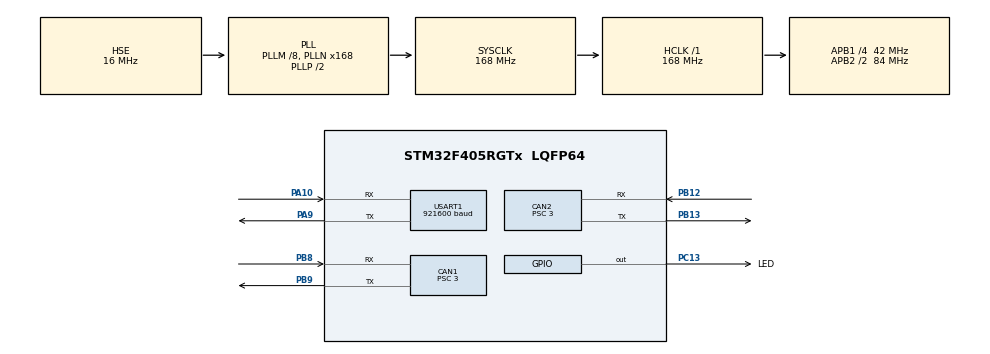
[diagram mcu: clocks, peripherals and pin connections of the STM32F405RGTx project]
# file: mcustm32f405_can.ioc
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CAN1.BS1=CAN_BS1_11TQ
CAN1.BS2=CAN_BS2_2TQ
CAN1.CalculateBaudRate=1000000
CAN1.CalculateTimeBit=1000
CAN1.CalculateTimeQuantum=71.42857142857143
CAN1.Mode=CAN_MODE_NORMAL
CAN1.Prescaler=3
CAN2.BS1=CAN_BS1_11TQ
CAN2.BS2=CAN_BS2_2TQ
CAN2.CalculateBaudRate=1000000
CAN2.CalculateTimeBit=1000
CAN2.CalculateTimeQuantum=71.42857142857143
CAN2.Prescaler=3
Mcu.Family=STM32F4
Mcu.Name=STM32F405RGTx
Mcu.Package=LQFP64
NVIC.CAN1_RX0_IRQn=true\:0\:0\:false\:false\:true\:true\:true\:true
NVIC.CAN1_RX1_IRQn=true\:0\:0\:false\:false\:true\:true\:true\:true
NVIC.CAN1_SCE_IRQn=true\:0\:0\:false\:false\:true\:true\:true\:true
NVIC.CAN1_TX_IRQn=true\:0\:0\:false\:false\:true\:true\:true\:true
NVIC.CAN2_RX0_IRQn=true\:0\:0\:false\:false\:true\:true\:true\:true
NVIC.CAN2_RX1_IRQn=true\:0\:0\:false\:false\:true\:true\:true\:true
NVIC.CAN2_SCE_IRQn=true\:0\:0\:false\:false\:true\:true\:true\:true
NVIC.CAN2_TX_IRQn=true\:0\:0\:false\:false\:true\:true\:true\:true
NVIC.PriorityGroup=NVIC_PRIORITYGROUP_4
PA10.Mode=Asynchronous
PA10.Signal=USART1_RX
PA13.Mode=Trace_Asynchronous_SW
PA13.Signal=SYS_JTMS-SWDIO
PA14.Mode=Trace_Asynchronous_SW
PA14.Signal=SYS_JTCK-SWCLK
PA9.Mode=Asynchronous
PA9.Signal=USART1_TX
PB12.Mode=CAN_Activate
PB12.Signal=CAN2_RX
PB13.Mode=CAN_Activate
PB13.Signal=CAN2_TX
PB3.Mode=Trace_Asynchronous_SW
PB3.Signal=SYS_JTDO-SWO
PB8.Mode=CAN_Activate
PB8.Signal=CAN1_RX
PB9.Mode=CAN_Activate
PB9.Signal=CAN1_TX
PC13-ANTI_TAMP.GPIO_Label=LED
PC13-ANTI_TAMP.GPIO_ModeDefaultOutputPP=GPIO_MODE_OUTPUT_OD
PC13-ANTI_TAMP.GPIO_PuPd=GPIO_NOPULL
PC13-ANTI_TAMP.PinState=GPIO_PIN_SET
PC13-ANTI_TAMP.Signal=GPIO_Output
PH0-OSC_IN.Mode=HSE-External-Oscillator
PH0-OSC_IN.Signal=RCC_OSC_IN
PH1-OSC_OUT.Mode=HSE-External-Oscillator
PH1-OSC_OUT.Signal=RCC_OSC_OUT
ProjectManager.HeapSize=0x200
ProjectManager.StackSize=0x400
ProjectManager.TargetToolchain=STM32CubeIDE
RCC.48MHZClocksFreq_Value=48000000
RCC.AHBFreq_Value=168000000
RCC.APB1CLKDivider=RCC_HCLK_DIV4
RCC.APB1Freq_Value=42000000
RCC.APB1TimFreq_Value=84000000
RCC.APB2CLKDivider=RCC_HCLK_DIV2
RCC.APB2Freq_Value=84000000
RCC.APB2TimFreq_Value=168000000
RCC.CortexFreq_Value=168000000
RCC.HCLKFreq_Value=168000000
RCC.HSE_VALUE=16000000
RCC.HSI_VALUE=16000000
RCC.LSE_VALUE=32768
RCC.PLLM=8
RCC.PLLN=168
RCC.PLLQ=7
RCC.PLLSourceVirtual=RCC_PLLSOURCE_HSE
RCC.SYSCLKFreq_VALUE=168000000
RCC.SYSCLKSource=RCC_SYSCLKSOURCE_PLLCLK
RCC.VCOOutputFreq_Value=336000000
USART1.BaudRate=921600
USART1.VirtualMode=VM_ASYNC
VP_RNG_VS_RNG.Mode=RNG_Activate
board=custom

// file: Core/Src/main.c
/* USER CODE BEGIN Header */
/**
 ******************************************************************************
 * @file           : main.c
 * @brief          : Main program body
 ******************************************************************************
 * @attention
 *
 * Copyright (c) 2023 STM32World <lth@stm32world.com>
 * All rights reserved.
 *
 * This software is licensed under terms that can be found in the LICENSE file
 * in the root directory of this software component.
 * If no LICENSE file comes with this software, it is provided AS-IS.
 *
 ******************************************************************************
 */
/* USER CODE END Header */
#include "main.h"

/* USER CODE BEGIN PD */

// Define some IDs to use on the CAN bus
#define CAN_ID_NOW 0b11000000000
#define CAN_ID_RND 0b10000000000

/* USER CODE END PD */

CAN_HandleTypeDef hcan1;
CAN_HandleTypeDef hcan2;

RNG_HandleTypeDef hrng;

UART_HandleTypeDef huart1;

/* USER CODE BEGIN PV */

CAN_TxHeaderTypeDef TxHeader;
CAN_RxHeaderTypeDef RxHeader;

uint32_t TxMailbox;

uint8_t TxData[8];
uint8_t RxData[8];

uint32_t msg_count = 0;
uint16_t delay = 500;

/* USER CODE END PV */

void SystemClock_Config(void);
static void MX_GPIO_Init(void);
static void MX_CAN1_Init(void);
static void MX_USART1_UART_Init(void);
static void MX_CAN2_Init(void);
static void MX_RNG_Init(void);

/* USER CODE BEGIN 0 */

// Send printf to uart1
int _write(int fd, char *ptr, int len) {
    HAL_StatusTypeDef hstatus;

    if (fd == 1 || fd == 2) {
        hstatus = HAL_UART_Transmit(&huart1, (uint8_t*) ptr, len, HAL_MAX_DELAY);
        if (hstatus == HAL_OK)
            return len;
        else
            return -1;
    }
    return -1;
}

void HAL_CAN_TxMailbox0CompleteCallback(CAN_HandleTypeDef *hcan) {
    DBG("HAL_CAN_TxMailbox0CompleteCallback");
}

void HAL_CAN_TxMailbox1CompleteCallback(CAN_HandleTypeDef *hcan) {
    DBG("HAL_CAN_TxMailbox1CompleteCallback");
}

void HAL_CAN_TxMailbox2CompleteCallback(CAN_HandleTypeDef *hcan) {
    DBG("HAL_CAN_TxMailbox2CompleteCallback");
}

void HAL_CAN_TxMailbox0AbortCallback(CAN_HandleTypeDef *hcan) {
    DBG("HAL_CAN_TxMailbox0AbortCallback");
}

void HAL_CAN_TxMailbox1AbortCallback(CAN_HandleTypeDef *hcan) {
    DBG("HAL_CAN_TxMailbox1AbortCallback");
}

void HAL_CAN_TxMailbox2AbortCallback(CAN_HandleTypeDef *hcan) {
    DBG("HAL_CAN_TxMailbox2AbortCallback");
}

void HAL_CAN_RxFifo0MsgPendingCallback(CAN_HandleTypeDef *hcan) {

    //DBG("HAL_CAN_RxFifo0MsgPendingCallback");

    if (HAL_CAN_GetRxMessage(hcan, CAN_RX_FIFO0, &RxHeader, RxData) != HAL_OK)
        Error_Handler();

    if (hcan->Instance == CAN1) {
        if (RxHeader.RTR == CAN_RTR_REMOTE) {
            if (RxHeader.StdId == CAN_ID_NOW) {

                DBG("CAN1 got NOW request");

                uint32_t now = HAL_GetTick() / 1000;

                TxHeader.DLC = 4;
                TxHeader.ExtId = 0;
                TxHeader.IDE = CAN_ID_STD;
                TxHeader.RTR = CAN_RTR_DATA;
                TxHeader.StdId = CAN_ID_NOW;

                if (HAL_CAN_AddTxMessage(&hcan1, &TxHeader, (uint8_t*) &now, &TxMailbox) != HAL_OK)
                    Error_Handler();

            } else if (RxHeader.StdId == CAN_ID_RND) {

                DBG("CAN1 got RND request");

                uint32_t rnd;
                if (HAL_RNG_GenerateRandomNumber(&hrng, &rnd) != HAL_OK)
                    Error_Handler();

                TxHeader.DLC = 4;
                TxHeader.ExtId = 0;
                TxHeader.IDE = CAN_ID_STD;
                TxHeader.RTR = CAN_RTR_DATA;
                TxHeader.StdId = CAN_ID_RND;

                if (HAL_CAN_AddTxMessage(&hcan1, &TxHeader, (uint8_t*) &rnd, &TxMailbox) != HAL_OK)
                    Error_Handler();

            } else {
                DBG("CAN1 Unknown ID");
            }
        } else {
            DBG("CAN1 Received data");
        }
    } else if (hcan->Instance == CAN2) {
        if (RxHeader.RTR == CAN_RTR_DATA) {
            if (RxHeader.StdId == CAN_ID_NOW) {

                uint32_t *now = (uint32_t*) &RxData[0];

                DBG("CAN2 Got NOW data!  now = %lu", *now);

            } else if (RxHeader.StdId == CAN_ID_RND) {

                uint32_t *rnd = (uint32_t*) &RxData[0];
                delay = (uint16_t) *rnd % 1000;

                DBG("CAN2 Got RND data!  rnd = 0x%08lx new delay = %u", *rnd, 500 + delay);

            } else {
                DBG("CAN2 Unknown ID");
            }
        }
    } else {
        DBG("Unknown CAN Instance");
    }

    msg_count++;
}

void HAL_CAN_RxFifo0FullCallback(CAN_HandleTypeDef *hcan) {
    DBG("HAL_CAN_RxFifo0FullCallback");
}

void HAL_CAN_RxFifo1MsgPendingCallback(CAN_HandleTypeDef *hcan) {
    DBG("HAL_CAN_RxFifo1MsgPendingCallback");
}

void HAL_CAN_RxFifo1FullCallback(CAN_HandleTypeDef *hcan) {
    DBG("HAL_CAN_RxFifo1FullCallback");
}

void HAL_CAN_SleepCallback(CAN_HandleTypeDef *hcan) {
    DBG("HAL_CAN_SleepCallback");
}

void HAL_CAN_WakeUpFromRxMsgCallback(CAN_HandleTypeDef *hcan) {
    DBG("HAL_CAN_WakeUpFromRxMsgCallback");
}

void HAL_CAN_ErrorCallback(CAN_HandleTypeDef *hcan) {
    DBG("HAL_CAN_ErrorCallback");
}

/* USER CODE END 0 */

int main(void) {

    /* MCU Configuration--------------------------------------------------------*/

    /* Reset of all peripherals, Initializes the Flash interface and the Systick. */
    HAL_Init();

    /* Configure the system clock */
    SystemClock_Config();

    /* Initialize all configured peripherals */
    MX_GPIO_Init();
    MX_CAN1_Init();
    MX_USART1_UART_Init();
    MX_CAN2_Init();
    MX_RNG_Init();
    /* USER CODE BEGIN 2 */

    DBG("\n\n\n\n\n------------\nCAN Starting");

    CAN_FilterTypeDef canfilterconfig;

    canfilterconfig.FilterActivation = CAN_FILTER_ENABLE;
    canfilterconfig.FilterBank = 12;  // anything between 0 to SlaveStartFilterBank
    canfilterconfig.FilterFIFOAssignment = CAN_RX_FIFO0;
    //canfilterconfig.FilterIdHigh = 0x103<<5;
    canfilterconfig.FilterIdHigh = 0x0000;
    canfilterconfig.FilterIdLow = 0x0000;
    //canfilterconfig.FilterMaskIdHigh = 0x1<<13;
    canfilterconfig.FilterMaskIdHigh = 0x0;
    canfilterconfig.FilterMaskIdLow = 0x0;
    canfilterconfig.FilterMode = CAN_FILTERMODE_IDMASK;
    canfilterconfig.FilterScale = CAN_FILTERSCALE_32BIT;
    canfilterconfig.SlaveStartFilterBank = 13;  // 13 to 27 are assigned to slave CAN (CAN 2) OR 0 to 12 are assgned to CAN1

    HAL_CAN_ConfigFilter(&hcan1, &canfilterconfig);

    canfilterconfig.FilterBank = 13;

    HAL_CAN_ConfigFilter(&hcan2, &canfilterconfig);

    HAL_CAN_Start(&hcan1);

    HAL_CAN_ActivateNotification(
            &hcan1,
            //CAN_IT_TX_MAILBOX_EMPTY |
            CAN_IT_RX_FIFO0_MSG_PENDING |
            CAN_IT_RX_FIFO0_FULL |
            CAN_IT_RX_FIFO0_OVERRUN |
            CAN_IT_RX_FIFO1_MSG_PENDING |
            CAN_IT_RX_FIFO1_FULL |
            CAN_IT_RX_FIFO1_OVERRUN |
            CAN_IT_WAKEUP |
            CAN_IT_SLEEP_ACK |
            CAN_IT_ERROR_WARNING |
            CAN_IT_ERROR_PASSIVE |
            CAN_IT_BUSOFF |
            CAN_IT_LAST_ERROR_CODE |
            CAN_IT_ERROR
            );

    HAL_CAN_Start(&hcan2);

    HAL_CAN_ActivateNotification(
            &hcan2,
            //CAN_IT_TX_MAILBOX_EMPTY |
            CAN_IT_RX_FIFO0_MSG_PENDING |
            CAN_IT_RX_FIFO0_FULL |
            CAN_IT_RX_FIFO0_OVERRUN |
            CAN_IT_RX_FIFO1_MSG_PENDING |
            CAN_IT_RX_FIFO1_FULL |
            CAN_IT_RX_FIFO1_OVERRUN |
            CAN_IT_WAKEUP |
            CAN_IT_SLEEP_ACK |
            CAN_IT_ERROR_WARNING |
            CAN_IT_ERROR_PASSIVE |
            CAN_IT_BUSOFF |
            CAN_IT_LAST_ERROR_CODE |
            CAN_IT_ERROR
            );

    /* USER CODE END 2 */

    /* Infinite loop */
    /* USER CODE BEGIN WHILE */

    uint32_t now = 0, last_blink = 0, last_now = 0, last_rnd = 0;

    while (1) {

        now = HAL_GetTick();

        if (now - last_now >= 1000) {

            //TxHeader.DLC = 4;
            TxHeader.ExtId = 0;
            TxHeader.IDE = CAN_ID_STD;
            TxHeader.RTR = CAN_RTR_REMOTE;
            TxHeader.StdId = CAN_ID_NOW;
            //TxHeader.TransmitGlobalTime = DISABLE;

            if (HAL_CAN_AddTxMessage(&hcan2, &TxHeader, (uint8_t*) &TxData, &TxMailbox) != HAL_OK)
                    {
                Error_Handler();
            }

            last_now = now;
        }

        if (now - last_rnd >= (500 + delay)) {
            //TxHeader.DLC = 4;
            TxHeader.ExtId = 0;
            TxHeader.IDE = CAN_ID_STD;
            TxHeader.RTR = CAN_RTR_REMOTE;
            TxHeader.StdId = CAN_ID_RND;
            //TxHeader.TransmitGlobalTime = DISABLE;

            if (HAL_CAN_AddTxMessage(&hcan2, &TxHeader, (uint8_t*) &TxData, &TxMailbox) != HAL_OK)
                    {
                Error_Handler();
            }

            last_rnd = now;
        }

        if (now - last_blink >= 500) {

            HAL_GPIO_TogglePin(LED_GPIO_Port, LED_Pin);

            last_blink = now;

        }

        /* USER CODE END WHILE */

    }
}

void SystemClock_Config(void)
{
    RCC_OscInitTypeDef RCC_OscInitStruct = { 0 };
    RCC_ClkInitTypeDef RCC_ClkInitStruct = { 0 };

    /** Configure the main internal regulator output voltage
     */
    __HAL_RCC_PWR_CLK_ENABLE();
    __HAL_PWR_VOLTAGESCALING_CONFIG(PWR_REGULATOR_VOLTAGE_SCALE1);

    /** Initializes the RCC Oscillators according to the specified parameters
     * in the RCC_OscInitTypeDef structure.
     */
    RCC_OscInitStruct.OscillatorType = RCC_OSCILLATORTYPE_HSE;
    RCC_OscInitStruct.HSEState = RCC_HSE_ON;
    RCC_OscInitStruct.PLL.PLLState = RCC_PLL_ON;
    RCC_OscInitStruct.PLL.PLLSource = RCC_PLLSOURCE_HSE;
    RCC_OscInitStruct.PLL.PLLM = 8;
    RCC_OscInitStruct.PLL.PLLN = 168;
    RCC_OscInitStruct.PLL.PLLP = RCC_PLLP_DIV2;
    RCC_OscInitStruct.PLL.PLLQ = 7;
    if (HAL_RCC_OscConfig(&RCC_OscInitStruct) != HAL_OK)
            {
        Error_Handler();
    }

    /** Initializes the CPU, AHB and APB buses clocks
     */
    RCC_ClkInitStruct.ClockType = RCC_CLOCKTYPE_HCLK | RCC_CLOCKTYPE_SYSCLK
            | RCC_CLOCKTYPE_PCLK1 | RCC_CLOCKTYPE_PCLK2;
    RCC_ClkInitStruct.SYSCLKSource = RCC_SYSCLKSOURCE_PLLCLK;
    RCC_ClkInitStruct.AHBCLKDivider = RCC_SYSCLK_DIV1;
    RCC_ClkInitStruct.APB1CLKDivider = RCC_HCLK_DIV4;
    RCC_ClkInitStruct.APB2CLKDivider = RCC_HCLK_DIV2;

    if (HAL_RCC_ClockConfig(&RCC_ClkInitStruct, FLASH_LATENCY_5) != HAL_OK)
            {
        Error_Handler();
    }
}

static void MX_CAN1_Init(void)
{

    hcan1.Instance = CAN1;
    hcan1.Init.Prescaler = 3;
    hcan1.Init.Mode = CAN_MODE_NORMAL;
    hcan1.Init.SyncJumpWidth = CAN_SJW_1TQ;
    hcan1.Init.TimeSeg1 = CAN_BS1_11TQ;
    hcan1.Init.TimeSeg2 = CAN_BS2_2TQ;
    hcan1.Init.TimeTriggeredMode = DISABLE;
    hcan1.Init.AutoBusOff = DISABLE;
    hcan1.Init.AutoWakeUp = DISABLE;
    hcan1.Init.AutoRetransmission = DISABLE;
    hcan1.Init.ReceiveFifoLocked = DISABLE;
    hcan1.Init.TransmitFifoPriority = DISABLE;
    if (HAL_CAN_Init(&hcan1) != HAL_OK)
            {
        Error_Handler();
    }

}

static void MX_CAN2_Init(void)
{

    hcan2.Instance = CAN2;
    hcan2.Init.Prescaler = 3;
    hcan2.Init.Mode = CAN_MODE_NORMAL;
    hcan2.Init.SyncJumpWidth = CAN_SJW_1TQ;
    hcan2.Init.TimeSeg1 = CAN_BS1_11TQ;
    hcan2.Init.TimeSeg2 = CAN_BS2_2TQ;
    hcan2.Init.TimeTriggeredMode = DISABLE;
    hcan2.Init.AutoBusOff = DISABLE;
    hcan2.Init.AutoWakeUp = DISABLE;
    hcan2.Init.AutoRetransmission = DISABLE;
    hcan2.Init.ReceiveFifoLocked = DISABLE;
    hcan2.Init.TransmitFifoPriority = DISABLE;
    if (HAL_CAN_Init(&hcan2) != HAL_OK)
            {
        Error_Handler();
    }

}

static void MX_RNG_Init(void)
{

    hrng.Instance = RNG;
    if (HAL_RNG_Init(&hrng) != HAL_OK)
            {
        Error_Handler();
    }

}

static void MX_USART1_UART_Init(void)
{

    huart1.Instance = USART1;
    huart1.Init.BaudRate = 921600;
    huart1.Init.WordLength = UART_WORDLENGTH_8B;
    huart1.Init.StopBits = UART_STOPBITS_1;
    huart1.Init.Parity = UART_PARITY_NONE;
    huart1.Init.Mode = UART_MODE_TX_RX;
    huart1.Init.HwFlowCtl = UART_HWCONTROL_NONE;
    huart1.Init.OverSampling = UART_OVERSAMPLING_16;
    if (HAL_UART_Init(&huart1) != HAL_OK)
            {
        Error_Handler();
    }

}

static void MX_GPIO_Init(void)
{
    GPIO_InitTypeDef GPIO_InitStruct = { 0 };

    /* GPIO Ports Clock Enable */
    __HAL_RCC_GPIOC_CLK_ENABLE();
    __HAL_RCC_GPIOH_CLK_ENABLE();
    __HAL_RCC_GPIOB_CLK_ENABLE();
    __HAL_RCC_GPIOA_CLK_ENABLE();

    /*Configure GPIO pin Output Level */
    HAL_GPIO_WritePin(LED_GPIO_Port, LED_Pin, GPIO_PIN_SET);

    /*Configure GPIO pin : LED_Pin */
    GPIO_InitStruct.Pin = LED_Pin;
    GPIO_InitStruct.Mode = GPIO_MODE_OUTPUT_OD;
    GPIO_InitStruct.Pull = GPIO_NOPULL;
    GPIO_InitStruct.Speed = GPIO_SPEED_FREQ_LOW;
    HAL_GPIO_Init(LED_GPIO_Port, &GPIO_InitStruct);

}

void Error_Handler(void)
{
    __disable_irq();
    while (1) {
    }
}
